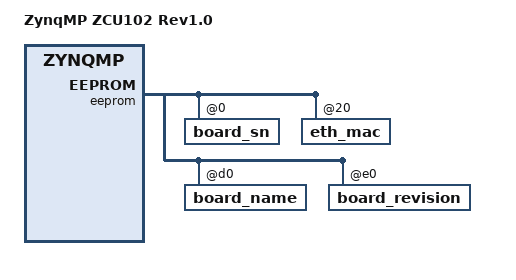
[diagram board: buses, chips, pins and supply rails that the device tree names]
/*
 * dts file for Xilinx ZynqMP ZCU102 Rev1.0
 *
 * (C) Copyright 2016, Xilinx, Inc.
 *
 * Michal Simek <michal.simek@xilinx.com>
 *
 * This program is free software; you can redistribute it and/or
 * modify it under the terms of the GNU General Public License as
 * published by the Free Software Foundation; either version 2 of
 * the License, or (at your option) any later version.
 */

#include "zynqmp-zcu102-revB.dts"

/ {
	model = "ZynqMP ZCU102 Rev1.0";
	compatible = "xlnx,zynqmp-zcu102-rev1.0", "xlnx,zynqmp-zcu102", "xlnx,zynqmp";
};

&eeprom  {
	#address-cells = <1>;
	#size-cells = <1>;

	board_sn: board_sn@0 {
		reg = <0x0 0x14>;
	};

	eth_mac: eth_mac@20 {
		reg = <0x20 0x6>;
	};

	board_name: board_name@d0 {
		reg = <0xd0 0x6>;
	};

	board_revision: board_revision@e0 {
		reg = <0xe0 0x3>;
	};
};
